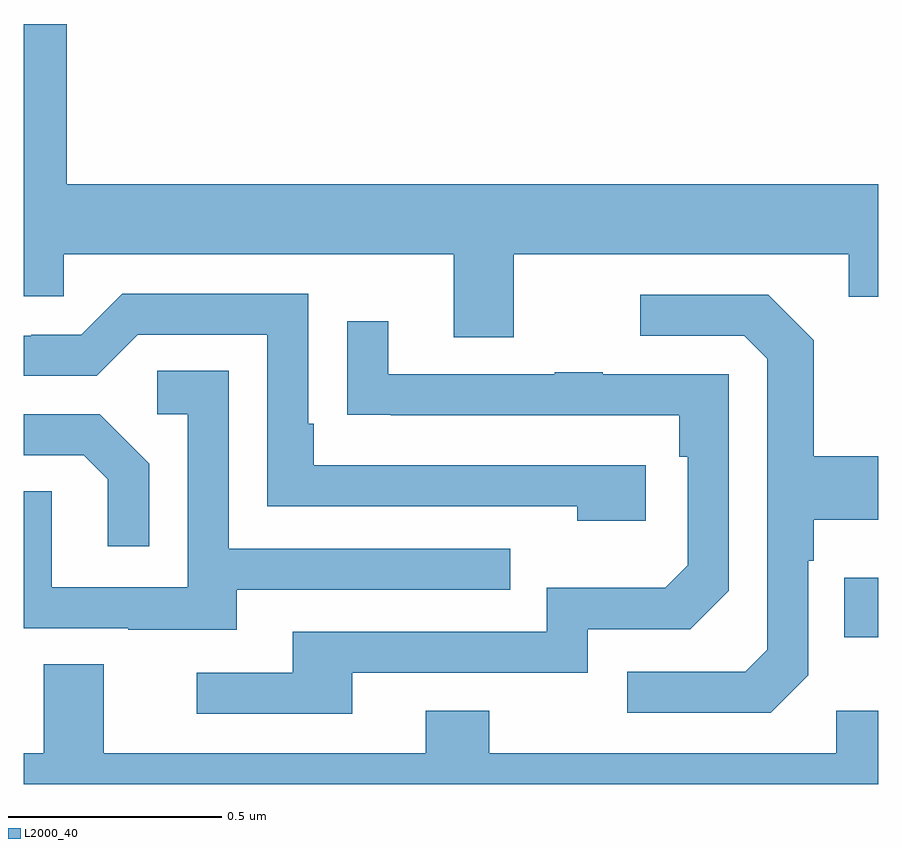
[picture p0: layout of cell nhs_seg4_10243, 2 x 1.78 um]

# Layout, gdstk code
import gdstk
lib = gdstk.Library(unit=1e-6, precision=1e-09)
def R(c, l, rs):  # rectangles x0, y0, x1, y1
    for r in rs: c.add(gdstk.rectangle(r[:2], r[2:], *l))
def P(c, l, *ps):  # polygons
    for p in ps: c.add(gdstk.Polygon(p, *l))
L2000_40 = (2000, 40)

nhs_seg4_10243 = lib.new_cell('nhs_seg4_10243')
R(nhs_seg4_10243, L2000_40, [(238.921,809.243,239,809.383)])
P(nhs_seg4_10243, L2000_40, [(238.147,810.14),(238.931,810.14),(238.931,810.041),(239,810.041),(239,810.304),(237.1,810.304),(237.1,810.679),(237,810.679),(237,810.042),(237.093,810.042),(237.093,810.14),(238.007,810.14),(238.007,809.946),(238.147,809.946)],
  [(238.456,809.646),(237.679,809.646),(237.679,809.743),(237.666,809.743),(237.666,810.048),(237.231,810.048),(237.135,809.952),(237.017,809.952),(237.017,809.949),(237,809.949),(237,809.856),(237.171,809.856),(237.267,809.952),(237.57,809.952),(237.57,809.55),(238.295,809.55),(238.295,809.516),(238.456,809.516)],
  [(238.836,809.154),(238.836,809.423),(238.849,809.423),(238.849,809.519),(239,809.519),(239,809.667),(238.849,809.667),(238.849,809.939),(238.743,810.045),(238.443,810.045),(238.443,809.949),(238.686,809.949),(238.74,809.895),(238.74,809.214),(238.689,809.163),(238.413,809.163),(238.413,809.067),(238.749,809.067)],
  [(237.769,809.16),(238.32,809.16),(238.32,809.262),(238.56,809.262),(238.65,809.352),(238.65,809.859),(238.355,809.859),(238.355,809.864),(238.243,809.864),(238.243,809.859),(237.853,809.859),(237.853,809.983),(237.757,809.983),(237.757,809.764),(237.859,809.764),(237.859,809.763),(238.534,809.763),(238.534,809.666),(238.554,809.666),(238.554,809.412),(238.501,809.359),(238.224,809.359),(238.224,809.256),(237.629,809.256),(237.629,809.16),(237.405,809.16),(237.405,809.064),(237.769,809.064)],
  [(237.499,809.355),(238.139,809.355),(238.139,809.451),(237.48,809.451),(237.48,809.867),(237.312,809.867),(237.312,809.766),(237.384,809.766),(237.384,809.361),(237.066,809.361),(237.066,809.585),(237,809.585),(237,809.265),(237.245,809.265),(237.245,809.261),(237.499,809.261)],
  [(237.294,809.65),(237.178,809.766),(237,809.766),(237,809.67),(237.14,809.67),(237.197,809.613),(237.197,809.457),(237.294,809.457)],
  [(239,809.071),(238.902,809.071),(238.902,808.972),(238.089,808.972),(238.089,809.071),(237.941,809.071),(237.941,808.972),(237.187,808.972),(237.187,809.18),(237.047,809.18),(237.047,808.972),(237,808.972),(237,808.9),(239,808.9)])

lib.write_gds('nhs_seg4_10243.gds')
